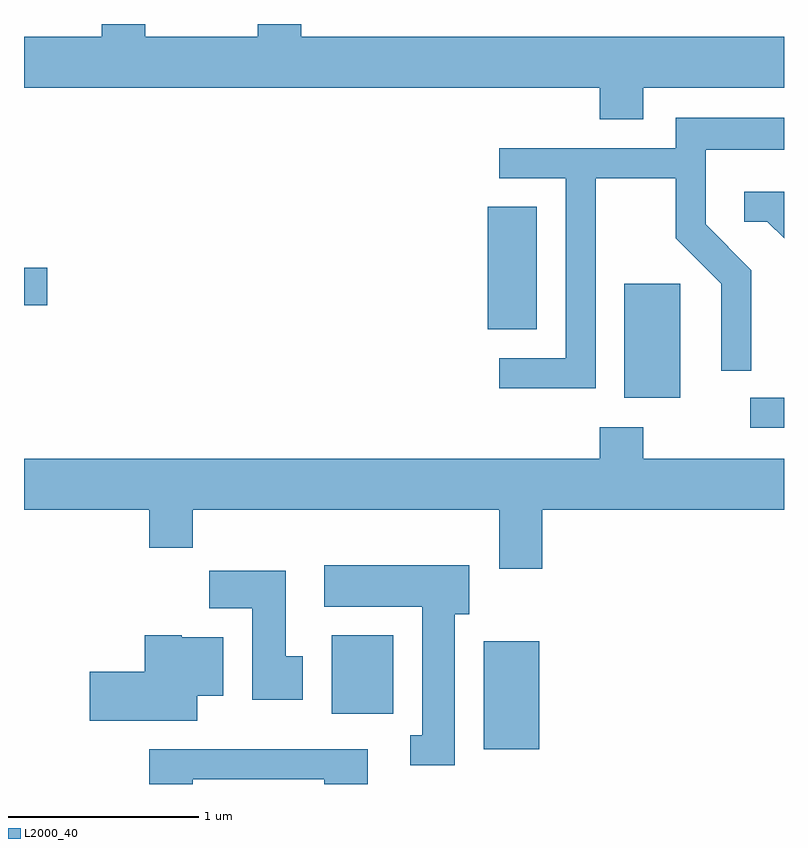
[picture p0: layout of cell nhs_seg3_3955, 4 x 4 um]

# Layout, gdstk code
import gdstk
lib = gdstk.Library(unit=1e-6, precision=1e-09)
def R(c, l, rs):  # rectangles x0, y0, x1, y1
    for r in rs: c.add(gdstk.rectangle(r[:2], r[2:], *l))
def P(c, l, *ps):  # polygons
    for p in ps: c.add(gdstk.Polygon(p, *l))
L2000_40 = (2000, 40)

nhs_seg3_3955 = lib.new_cell('nhs_seg3_3955')
R(nhs_seg3_3955, L2000_40, [(304.031,1138.076,304.324,1138.644), (303.231,1138.261,303.554,1138.674), (305.433,1139.766,305.611,1139.924), (304.771,1139.926,305.064,1140.524), (304.051,1140.286,304.309,1140.929), (301.611,1140.411,301.734,1140.609)])
P(nhs_seg3_3955, L2000_40, [(304.869,1141.556),(305.611,1141.556),(305.611,1141.824),(303.069,1141.824),(303.069,1141.892),(302.841,1141.892),(302.841,1141.824),(302.249,1141.824),(302.249,1141.892),(302.021,1141.892),(302.021,1141.824),(301.611,1141.824),(301.611,1141.556),(304.641,1141.556),(304.641,1141.391),(304.869,1141.391)],
  [(304.619,1141.081),(305.041,1141.081),(305.041,1140.764),(305.281,1140.524),(305.281,1140.068),(305.439,1140.068),(305.439,1140.597),(305.199,1140.837),(305.199,1141.231),(305.611,1141.231),(305.611,1141.399),(305.041,1141.399),(305.041,1141.239),(304.113,1141.239),(304.113,1141.081),(304.461,1141.081),(304.461,1140.134),(304.113,1140.134),(304.113,1139.976),(304.619,1139.976)],
  [(305.611,1141.009),(305.403,1141.009),(305.403,1140.851),(305.524,1140.851),(305.611,1140.764)],
  [(304.339,1139.336),(305.611,1139.336),(305.611,1139.604),(304.869,1139.604),(304.869,1139.769),(304.641,1139.769),(304.641,1139.604),(301.611,1139.604),(301.611,1139.336),(302.271,1139.336),(302.271,1139.136),(302.499,1139.136),(302.499,1139.336),(304.111,1139.336),(304.111,1139.026),(304.339,1139.026)],
  [(303.879,1138.786),(303.954,1138.786),(303.954,1139.044),(303.191,1139.044),(303.191,1138.826),(303.706,1138.826),(303.706,1138.149),(303.643,1138.149),(303.643,1137.991),(303.879,1137.991)],
  [(303.079,1138.564),(302.989,1138.564),(302.989,1139.014),(302.586,1139.014),(302.586,1138.816),(302.811,1138.816),(302.811,1138.336),(303.079,1138.336)],
  [(302.524,1138.356),(302.659,1138.356),(302.659,1138.664),(302.44,1138.664),(302.44,1138.674),(302.246,1138.674),(302.246,1138.484),(301.956,1138.484),(301.956,1138.226),(302.524,1138.226)],
  [(302.499,1137.916),(303.191,1137.916),(303.191,1137.892),(303.419,1137.892),(303.419,1138.074),(302.271,1138.074),(302.271,1137.892),(302.499,1137.892)])

lib.write_gds('nhs_seg3_3955.gds')
